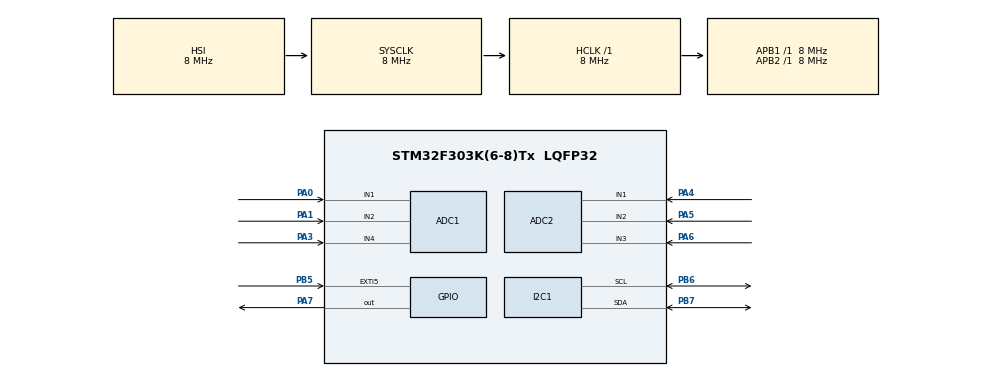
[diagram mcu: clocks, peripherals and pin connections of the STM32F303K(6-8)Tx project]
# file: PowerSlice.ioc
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ADC1.ContinuousConvMode=DISABLE
ADC1.DMAContinuousRequests=DISABLE
ADC1.EnableRegularConversion=DISABLE
ADC1.SubFamily=STM32F303x8
ADC1.master=1
ADC2.ContinuousConvMode=DISABLE
ADC2.DMAContinuousRequests=DISABLE
ADC2.EOCSelection=ADC_EOC_SINGLE_CONV
ADC2.EnableRegularConversion=DISABLE
ADC2.SubFamily=STM32F303x8
I2C1.NoStretchMode=I2C_NOSTRETCH_ENABLE
I2C1.OwnAddress=64
I2C1.Timing=0x00201D2B
Mcu.Family=STM32F3
Mcu.Name=STM32F303K(6-8)Tx
Mcu.Package=LQFP32
NVIC.I2C1_ER_IRQn=true\:0\:0\:false\:false\:true\:true\:true\:true
NVIC.I2C1_EV_IRQn=true\:0\:0\:false\:false\:true\:true\:true\:true
NVIC.PriorityGroup=NVIC_PRIORITYGROUP_4
PA0.Mode=IN1-Single-Ended
PA0.Signal=ADC1_IN1
PA1.Mode=IN2-Single-Ended
PA1.Signal=ADC1_IN2
PA13.GPIO_Label=SWDIO
PA13.Mode=Serial_Wire
PA13.Signal=SYS_JTMS-SWDIO
PA14.GPIO_Label=SWCLK
PA14.Mode=Serial_Wire
PA14.Signal=SYS_JTCK-SWCLK
PA3.Mode=IN4-Single-Ended
PA3.Signal=ADC1_IN4
PA4.Mode=IN1-Single-Ended
PA4.Signal=ADC2_IN1
PA5.Mode=IN2-Single-Ended
PA5.Signal=ADC2_IN2
PA6.Mode=IN3-Single-Ended
PA6.Signal=ADC2_IN3
PA7.Signal=GPIO_Output
PB5.Signal=GPXTI5
PB6.Mode=I2C
PB6.Signal=I2C1_SCL
PB7.Mode=I2C
PB7.Signal=I2C1_SDA
PF0\ /\ OSC_IN.GPIO_Label=MCO
PF0\ /\ OSC_IN.Mode=HSE-External-Clock-Source
PF0\ /\ OSC_IN.Signal=RCC_OSC_IN
ProjectManager.HeapSize=0x200
ProjectManager.StackSize=0x400
ProjectManager.TargetToolchain=STM32CubeIDE
RCC.AHBFreq_Value=8000000
RCC.APB1Freq_Value=8000000
RCC.APB2Freq_Value=8000000
RCC.CortexFreq_Value=8000000
RCC.HSE_VALUE=8000000
RCC.HSI_VALUE=8000000
RCC.PLLMUL=RCC_PLL_MUL4
RCC.SYSCLKFreq_VALUE=8000000
TIM1.Channel-Output\ Compare1\ No\ Output=TIM_CHANNEL_1
VP_TIM1_VS_ClockSourceINT.Mode=Internal
VP_TIM1_VS_no_output1.Mode=Output Compare1 No Output
board=NUCLEO-F303K8

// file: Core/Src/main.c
/* USER CODE BEGIN Header */
/**
  ******************************************************************************
  * @file           : main.c
  * @brief          : Main program body
  ******************************************************************************
  * @attention
  *
  * Copyright (c) 2026 STMicroelectronics.
  * All rights reserved.
  *
  * This software is licensed under terms that can be found in the LICENSE file
  * in the root directory of this software component.
  * If no LICENSE file comes with this software, it is provided AS-IS.
  *
  ******************************************************************************
  */
/* USER CODE END Header */
#include "main.h"

/* USER CODE BEGIN Includes */
#include <string.h>
#include <stdio.h>
/* USER CODE END Includes */

/* USER CODE BEGIN PTD */
struct current_data
{
  uint32_t current12V;
  uint32_t current5V;
  uint32_t current3V3;
  uint8_t status;
  uint32_t count3V3;
  uint32_t count5V;
  uint32_t count12V;
};
/* USER CODE END PTD */

/* USER CODE BEGIN PD */
#define STATUS_OK 0x1
#define STATUS_BUSY	0x2
#define STATUS_ERROR 0x3
#define MASTER_ADDR 0x00 << 1
#define SLAVE_ADDR 0x40 << 1
#define POLL_TIME 100
/* USER CODE END PD */

ADC_HandleTypeDef hadc1;
ADC_HandleTypeDef hadc2;

I2C_HandleTypeDef hi2c1;

TIM_HandleTypeDef htim1;

/* USER CODE BEGIN PV */
uint8_t rxData[1] = {0x0};
uint8_t txData[4] = {0x0, 0x0, 0x0, 0x0};
uint8_t txLen = 0;
uint8_t commandReady = 0;
int32_t voltage3V3 = 0;
int32_t voltage5V = 0;
int32_t voltage12V = 0;
struct current_data sensor_data;
/* USER CODE END PV */

void SystemClock_Config(void);
static void MX_GPIO_Init(void);
static void MX_ADC1_Init(void);
static void MX_ADC2_Init(void);
static void MX_I2C1_Init(void);
static void MX_TIM1_Init(void);

/* USER CODE BEGIN 0 */
int32_t ADC_to_mA(int32_t val)
  {
	  return ((-805*val)/1000) + 3298;
  }

uint16_t ADC_Convert_3V3(void)
  {
    /* Configure channel */
    ADC_ChannelConfTypeDef sConfig = {0};
    sConfig.Channel = ADC_CHANNEL_1;
    sConfig.Rank = ADC_REGULAR_RANK_1;
    if (HAL_ADC_ConfigChannel(&hadc2, &sConfig) != HAL_OK)
    {
      Error_Handler();
    }

    /* Convert the Channel */
    HAL_ADC_Start(&hadc2);
    HAL_ADC_PollForConversion(&hadc2, POLL_TIME);
    uint16_t adcval = HAL_ADC_GetValue(&hadc2);
    HAL_ADC_Stop(&hadc2);
    return adcval;
  }

  uint16_t ADC_Convert_5V(void)
  {
    /* Configure channel */
    ADC_ChannelConfTypeDef sConfig = {0};
    sConfig.Channel = ADC_CHANNEL_2;
    sConfig.Rank = ADC_REGULAR_RANK_1;
    if (HAL_ADC_ConfigChannel(&hadc2, &sConfig) != HAL_OK)
    {
      Error_Handler();
    }

    /* Convert the Channel */
    HAL_ADC_Start(&hadc2);
    HAL_ADC_PollForConversion(&hadc2, POLL_TIME);
    uint16_t adcval = HAL_ADC_GetValue(&hadc2);
    HAL_ADC_Stop(&hadc2);
    return adcval;
  }

  uint16_t ADC_Convert_12V(void)
  {
    /* Configure channel */
    ADC_ChannelConfTypeDef sConfig = {0};
    sConfig.Channel = ADC_CHANNEL_3;
    sConfig.Rank = ADC_REGULAR_RANK_1;
    if (HAL_ADC_ConfigChannel(&hadc2, &sConfig) != HAL_OK)
    {
      Error_Handler();
    }

    /* Convert the Channel */
    HAL_ADC_Start(&hadc2);
    HAL_ADC_PollForConversion(&hadc2, POLL_TIME);
    uint16_t adcval = HAL_ADC_GetValue(&hadc2);
    HAL_ADC_Stop(&hadc2);
    return adcval;
  }

  uint16_t ADC_Convert_3V3_Current(void)
  {
    /* Configure channel */
    ADC_ChannelConfTypeDef sConfig = {0};
    sConfig.Channel = ADC_CHANNEL_4;
    sConfig.Rank = ADC_REGULAR_RANK_1;
    if (HAL_ADC_ConfigChannel(&hadc1, &sConfig) != HAL_OK)
    {
      Error_Handler();
    }

    /* Convert the Channel */
    HAL_ADC_Start(&hadc1);
    HAL_ADC_PollForConversion(&hadc1, POLL_TIME);
    uint16_t adcval = HAL_ADC_GetValue(&hadc1);
    HAL_ADC_Stop(&hadc1);
    return ADC_to_mA(adcval);
  }

  uint16_t ADC_Convert_5V_Current(void)
  {
    /* Configure channel */
    ADC_ChannelConfTypeDef sConfig = {0};
    sConfig.Channel = ADC_CHANNEL_2;
    sConfig.Rank = ADC_REGULAR_RANK_1;
    if (HAL_ADC_ConfigChannel(&hadc1, &sConfig) != HAL_OK)
    {
      Error_Handler();
    }

    /* Convert the Channel */
    HAL_ADC_Start(&hadc1);
    HAL_ADC_PollForConversion(&hadc1, POLL_TIME);
    uint16_t adcval = HAL_ADC_GetValue(&hadc1);
    HAL_ADC_Stop(&hadc1);
    return ADC_to_mA(adcval);
  }

  uint16_t ADC_Convert_12V_Current(void)
  {
    /* Configure channel */
    ADC_ChannelConfTypeDef sConfig = {0};
    sConfig.Channel = ADC_CHANNEL_1;
    sConfig.Rank = ADC_REGULAR_RANK_1;
    if (HAL_ADC_ConfigChannel(&hadc1, &sConfig) != HAL_OK)
    {
      Error_Handler();
    }

    /* Convert the Channel */
    HAL_ADC_Start(&hadc1);
    HAL_ADC_PollForConversion(&hadc1, POLL_TIME);
    uint16_t adcval = HAL_ADC_GetValue(&hadc1);
    HAL_ADC_Stop(&hadc1);
    return ADC_to_mA(adcval);
  }

/* USER CODE END 0 */

int main(void)
{

  /* MCU Configuration--------------------------------------------------------*/

  /* Reset of all peripherals, Initializes the Flash interface and the Systick. */
  HAL_Init();

  /* Configure the system clock */
  SystemClock_Config();

  /* Initialize all configured peripherals */
  MX_GPIO_Init();
  MX_ADC1_Init();
  MX_ADC2_Init();
  MX_I2C1_Init();
  MX_TIM1_Init();
  /* USER CODE BEGIN 2 */
  HAL_I2C_Slave_Receive_IT(&hi2c1, rxData, 1);
  /* USER CODE END 2 */

  /* Infinite loop */
  /* USER CODE BEGIN WHILE */
  while (1)
  {
	  voltage12V = ADC_Convert_12V();
	  voltage5V = ADC_Convert_5V();
	  voltage3V3 = ADC_Convert_3V3();
	  sensor_data.current12V += ADC_Convert_12V_Current();
	  sensor_data.count12V++;
	  sensor_data.current5V += ADC_Convert_5V_Current();
	  sensor_data.count5V++;
	  sensor_data.current3V3 += ADC_Convert_3V3_Current();
	  sensor_data.count3V3++;
	  HAL_Delay(POLL_TIME);
    /* USER CODE END WHILE */

  }
}

void SystemClock_Config(void)
{
  RCC_OscInitTypeDef RCC_OscInitStruct = {0};
  RCC_ClkInitTypeDef RCC_ClkInitStruct = {0};
  RCC_PeriphCLKInitTypeDef PeriphClkInit = {0};

  /** Initializes the RCC Oscillators according to the specified parameters
  * in the RCC_OscInitTypeDef structure.
  */
  RCC_OscInitStruct.OscillatorType = RCC_OSCILLATORTYPE_HSI;
  RCC_OscInitStruct.HSIState = RCC_HSI_ON;
  RCC_OscInitStruct.HSICalibrationValue = RCC_HSICALIBRATION_DEFAULT;
  RCC_OscInitStruct.PLL.PLLState = RCC_PLL_ON;
  RCC_OscInitStruct.PLL.PLLSource = RCC_PLLSOURCE_HSI;
  RCC_OscInitStruct.PLL.PLLMUL = RCC_PLL_MUL4;
  if (HAL_RCC_OscConfig(&RCC_OscInitStruct) != HAL_OK)
  {
    Error_Handler();
  }

  /** Initializes the CPU, AHB and APB buses clocks
  */
  RCC_ClkInitStruct.ClockType = RCC_CLOCKTYPE_HCLK|RCC_CLOCKTYPE_SYSCLK
                              |RCC_CLOCKTYPE_PCLK1|RCC_CLOCKTYPE_PCLK2;
  RCC_ClkInitStruct.SYSCLKSource = RCC_SYSCLKSOURCE_HSI;
  RCC_ClkInitStruct.AHBCLKDivider = RCC_SYSCLK_DIV1;
  RCC_ClkInitStruct.APB1CLKDivider = RCC_HCLK_DIV1;
  RCC_ClkInitStruct.APB2CLKDivider = RCC_HCLK_DIV1;

  if (HAL_RCC_ClockConfig(&RCC_ClkInitStruct, FLASH_LATENCY_0) != HAL_OK)
  {
    Error_Handler();
  }
  PeriphClkInit.PeriphClockSelection = RCC_PERIPHCLK_I2C1|RCC_PERIPHCLK_TIM1
                              |RCC_PERIPHCLK_ADC12;
  PeriphClkInit.Adc12ClockSelection = RCC_ADC12PLLCLK_DIV1;
  PeriphClkInit.I2c1ClockSelection = RCC_I2C1CLKSOURCE_HSI;
  PeriphClkInit.Tim1ClockSelection = RCC_TIM1CLK_HCLK;
  if (HAL_RCCEx_PeriphCLKConfig(&PeriphClkInit) != HAL_OK)
  {
    Error_Handler();
  }
}

static void MX_ADC1_Init(void)
{

  ADC_MultiModeTypeDef multimode = {0};

  /** Common config
  */
  hadc1.Instance = ADC1;
  hadc1.Init.ClockPrescaler = ADC_CLOCK_ASYNC_DIV1;
  hadc1.Init.Resolution = ADC_RESOLUTION_12B;
  hadc1.Init.ScanConvMode = ADC_SCAN_DISABLE;
  hadc1.Init.ContinuousConvMode = DISABLE;
  hadc1.Init.DiscontinuousConvMode = DISABLE;
  hadc1.Init.DataAlign = ADC_DATAALIGN_RIGHT;
  hadc1.Init.NbrOfConversion = 1;
  hadc1.Init.DMAContinuousRequests = DISABLE;
  hadc1.Init.EOCSelection = ADC_EOC_SINGLE_CONV;
  hadc1.Init.LowPowerAutoWait = DISABLE;
  hadc1.Init.Overrun = ADC_OVR_DATA_OVERWRITTEN;
  if (HAL_ADC_Init(&hadc1) != HAL_OK)
  {
    Error_Handler();
  }

  /** Configure the ADC multi-mode
  */
  multimode.Mode = ADC_MODE_INDEPENDENT;
  if (HAL_ADCEx_MultiModeConfigChannel(&hadc1, &multimode) != HAL_OK)
  {
    Error_Handler();
  }

}

static void MX_ADC2_Init(void)
{

  /** Common config
  */
  hadc2.Instance = ADC2;
  hadc2.Init.ClockPrescaler = ADC_CLOCK_ASYNC_DIV1;
  hadc2.Init.Resolution = ADC_RESOLUTION_12B;
  hadc2.Init.ScanConvMode = ADC_SCAN_DISABLE;
  hadc2.Init.ContinuousConvMode = DISABLE;
  hadc2.Init.DiscontinuousConvMode = DISABLE;
  hadc2.Init.DataAlign = ADC_DATAALIGN_RIGHT;
  hadc2.Init.NbrOfConversion = 1;
  hadc2.Init.DMAContinuousRequests = DISABLE;
  hadc2.Init.EOCSelection = ADC_EOC_SINGLE_CONV;
  hadc2.Init.LowPowerAutoWait = DISABLE;
  hadc2.Init.Overrun = ADC_OVR_DATA_OVERWRITTEN;
  if (HAL_ADC_Init(&hadc2) != HAL_OK)
  {
    Error_Handler();
  }

}

static void MX_I2C1_Init(void)
{

  hi2c1.Instance = I2C1;
  hi2c1.Init.Timing = 0x00201D2B;
  hi2c1.Init.OwnAddress1 = 128;
  hi2c1.Init.AddressingMode = I2C_ADDRESSINGMODE_7BIT;
  hi2c1.Init.DualAddressMode = I2C_DUALADDRESS_DISABLE;
  hi2c1.Init.OwnAddress2 = 0;
  hi2c1.Init.OwnAddress2Masks = I2C_OA2_NOMASK;
  hi2c1.Init.GeneralCallMode = I2C_GENERALCALL_DISABLE;
  hi2c1.Init.NoStretchMode = I2C_NOSTRETCH_ENABLE;
  if (HAL_I2C_Init(&hi2c1) != HAL_OK)
  {
    Error_Handler();
  }

  /** Configure Analogue filter
  */
  if (HAL_I2CEx_ConfigAnalogFilter(&hi2c1, I2C_ANALOGFILTER_ENABLE) != HAL_OK)
  {
    Error_Handler();
  }

  /** Configure Digital filter
  */
  if (HAL_I2CEx_ConfigDigitalFilter(&hi2c1, 0) != HAL_OK)
  {
    Error_Handler();
  }

}

static void MX_TIM1_Init(void)
{

  TIM_ClockConfigTypeDef sClockSourceConfig = {0};
  TIM_MasterConfigTypeDef sMasterConfig = {0};
  TIM_OC_InitTypeDef sConfigOC = {0};
  TIM_BreakDeadTimeConfigTypeDef sBreakDeadTimeConfig = {0};

  htim1.Instance = TIM1;
  htim1.Init.Prescaler = 0;
  htim1.Init.CounterMode = TIM_COUNTERMODE_UP;
  htim1.Init.Period = 65535;
  htim1.Init.ClockDivision = TIM_CLOCKDIVISION_DIV1;
  htim1.Init.RepetitionCounter = 0;
  htim1.Init.AutoReloadPreload = TIM_AUTORELOAD_PRELOAD_DISABLE;
  if (HAL_TIM_Base_Init(&htim1) != HAL_OK)
  {
    Error_Handler();
  }
  sClockSourceConfig.ClockSource = TIM_CLOCKSOURCE_INTERNAL;
  if (HAL_TIM_ConfigClockSource(&htim1, &sClockSourceConfig) != HAL_OK)
  {
    Error_Handler();
  }
  if (HAL_TIM_OC_Init(&htim1) != HAL_OK)
  {
    Error_Handler();
  }
  sMasterConfig.MasterOutputTrigger = TIM_TRGO_RESET;
  sMasterConfig.MasterOutputTrigger2 = TIM_TRGO2_RESET;
  sMasterConfig.MasterSlaveMode = TIM_MASTERSLAVEMODE_DISABLE;
  if (HAL_TIMEx_MasterConfigSynchronization(&htim1, &sMasterConfig) != HAL_OK)
  {
    Error_Handler();
  }
  sConfigOC.OCMode = TIM_OCMODE_TIMING;
  sConfigOC.Pulse = 0;
  sConfigOC.OCPolarity = TIM_OCPOLARITY_HIGH;
  sConfigOC.OCNPolarity = TIM_OCNPOLARITY_HIGH;
  sConfigOC.OCFastMode = TIM_OCFAST_DISABLE;
  sConfigOC.OCIdleState = TIM_OCIDLESTATE_RESET;
  sConfigOC.OCNIdleState = TIM_OCNIDLESTATE_RESET;
  if (HAL_TIM_OC_ConfigChannel(&htim1, &sConfigOC, TIM_CHANNEL_1) != HAL_OK)
  {
    Error_Handler();
  }
  sBreakDeadTimeConfig.OffStateRunMode = TIM_OSSR_DISABLE;
  sBreakDeadTimeConfig.OffStateIDLEMode = TIM_OSSI_DISABLE;
  sBreakDeadTimeConfig.LockLevel = TIM_LOCKLEVEL_OFF;
  sBreakDeadTimeConfig.DeadTime = 0;
  sBreakDeadTimeConfig.BreakState = TIM_BREAK_DISABLE;
  sBreakDeadTimeConfig.BreakPolarity = TIM_BREAKPOLARITY_HIGH;
  sBreakDeadTimeConfig.BreakFilter = 0;
  sBreakDeadTimeConfig.Break2State = TIM_BREAK2_DISABLE;
  sBreakDeadTimeConfig.Break2Polarity = TIM_BREAK2POLARITY_HIGH;
  sBreakDeadTimeConfig.Break2Filter = 0;
  sBreakDeadTimeConfig.AutomaticOutput = TIM_AUTOMATICOUTPUT_DISABLE;
  if (HAL_TIMEx_ConfigBreakDeadTime(&htim1, &sBreakDeadTimeConfig) != HAL_OK)
  {
    Error_Handler();
  }

}

static void MX_GPIO_Init(void)
{
  GPIO_InitTypeDef GPIO_InitStruct = {0};

  /* GPIO Ports Clock Enable */
  __HAL_RCC_GPIOF_CLK_ENABLE();
  __HAL_RCC_GPIOA_CLK_ENABLE();
  __HAL_RCC_GPIOB_CLK_ENABLE();

  /*Configure GPIO pin Output Level */
  HAL_GPIO_WritePin(GPIOA, GPIO_PIN_7, GPIO_PIN_RESET);

  /*Configure GPIO pin : PA7 */
  GPIO_InitStruct.Pin = GPIO_PIN_7;
  GPIO_InitStruct.Mode = GPIO_MODE_OUTPUT_PP;
  GPIO_InitStruct.Pull = GPIO_NOPULL;
  GPIO_InitStruct.Speed = GPIO_SPEED_FREQ_LOW;
  HAL_GPIO_Init(GPIOA, &GPIO_InitStruct);

  /*Configure GPIO pin : PB5 */
  GPIO_InitStruct.Pin = GPIO_PIN_5;
  GPIO_InitStruct.Mode = GPIO_MODE_IT_RISING;
  GPIO_InitStruct.Pull = GPIO_NOPULL;
  HAL_GPIO_Init(GPIOB, &GPIO_InitStruct);

}

/* USER CODE BEGIN 4 */
void HAL_I2C_SlaveRxCpltCallback(I2C_HandleTypeDef *hi2c)
{
	switch (rxData[0])
	{
		case 0x01:	// Loaf is requesting status
			if (voltage12V < 500 || voltage5V < 500 || voltage3V3 < 500)
			{
				sensor_data.status = STATUS_ERROR;
			}
			else
			{
				sensor_data.status = STATUS_OK;
			}
			txData[0] = sensor_data.status;
			txLen = 1;
			break;

		case 0x02:	// Loaf is requesting 3V3 current draw
			if(sensor_data.count3V3 == 0)
			{
				txData[0] = 69;
				txData[1] = 0;
				txData[2] = 0;
				txData[3] = 0;
				HAL_I2C_Slave_Transmit_IT(hi2c, txData, txLen);
				return;
			}

			sensor_data.current3V3 /= sensor_data.count3V3;
			txData[0] = (sensor_data.current3V3 >> 0) & 0xFF;
			txData[1] = (sensor_data.current3V3 >> 8) & 0xFF;
			txData[2] = (sensor_data.current3V3 >> 16) & 0xFF;
			txData[3] = (sensor_data.current3V3 >> 24) & 0xFF;
			txLen = 4;
			sensor_data.current3V3 = 0;		// Reset values
			sensor_data.count3V3 = 0;
			break;

		case 0x03:	// Loaf is requesting 5V current draw
			if(sensor_data.count5V == 0)
			{
				txData[0] = 69;
				txData[1] = 0;
				txData[2] = 0;
				txData[3] = 0;
				HAL_I2C_Slave_Transmit_IT(hi2c, txData, txLen);
				return;
			}

			sensor_data.current5V /= sensor_data.count5V;
			txData[0] = (sensor_data.current5V >> 0) & 0xFF;
			txData[1] = (sensor_data.current5V >> 8) & 0xFF;
			txData[2] = (sensor_data.current5V >> 16) & 0xFF;
			txData[3] = (sensor_data.current5V >> 24) & 0xFF;
			txLen = 4;
			sensor_data.current5V = 0;		// Reset values
			sensor_data.count5V = 0;
			break;

		case 0x04:	// Loaf is requesting 12V current draw
			if(sensor_data.count12V == 0)
			{
				txData[0] = 69;
				txData[1] = 0;
				txData[2] = 0;
				txData[3] = 0;
				HAL_I2C_Slave_Transmit_IT(hi2c, txData, txLen);
				return;
			}

			sensor_data.current12V /= sensor_data.count12V;
			txData[0] = (sensor_data.current12V >> 0) & 0xFF;
			txData[1] = (sensor_data.current12V >> 8) & 0xFF;
			txData[2] = (sensor_data.current12V >> 16) & 0xFF;
			txData[3] = (sensor_data.current12V >> 24) & 0xFF;
			txLen = 4;
			sensor_data.current12V = 0;		// Reset values
			sensor_data.count12V = 0;
			break;

		default:
			return; // Command unsupported
	}
	HAL_I2C_Slave_Transmit_IT(hi2c, txData, txLen);
}

void HAL_I2C_SlaveTxCpltCallback(I2C_HandleTypeDef *hi2c)
{
	HAL_I2C_Slave_Receive_IT(hi2c, rxData, 1);
}

/* USER CODE END 4 */

void Error_Handler(void)
{
  __disable_irq();
  while (1)
  {
  }
}
